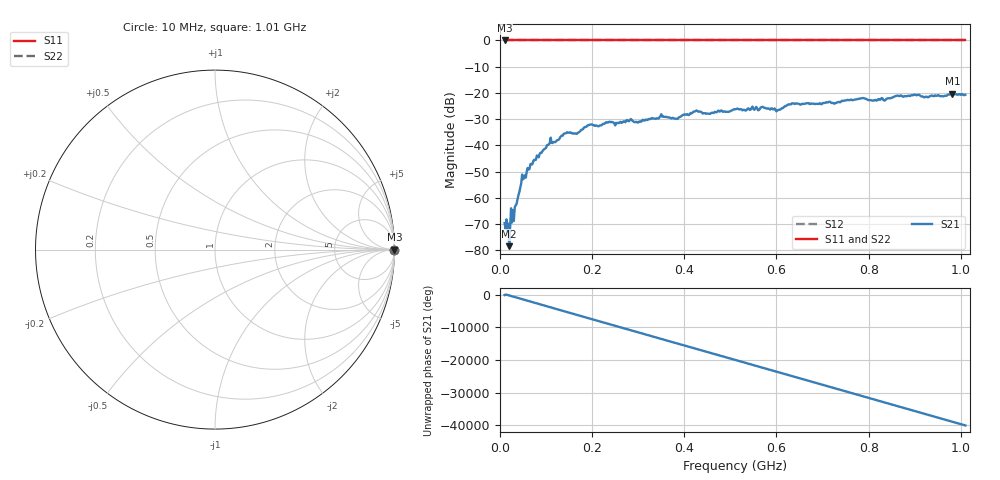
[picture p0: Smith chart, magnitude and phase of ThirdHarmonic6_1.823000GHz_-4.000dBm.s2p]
! 8/16/2025 10:05:10 PM
! C:\ANRITSUVNA\TEMP\TEMP.S2P
! CHANNEL.1
! TR.MEASUREMENT
! RAW.DATA
! RF.CORRECTION.OFF
! AVERAGING.OFF
! IF.BANDWIDTH: 5KHZ
! SWEEPTYPE:  FREQ.SWEEP(Linear)
! Reference Plane Port Info
! PORT:  PORT1  PORT2
! DISTANCE:  0  m  0  m
! TIME:  0  s  0  s
! PHASE.OFFSET:  0  deg.  0  deg.
! LOSS:  0  dB  0  dB
! REF.LOSS:  0  dB  0  dB
! REF.FREQ:  0  Hz  0  Hz
! Power Info
! POWER:  -20  dBm  -20  dBm
! EFF.POWER:  -20  dBm  -20  dBm
! SOURCE.ATTEN:  0  dB  0  dB
! TEST.ATTEN:  0  dB  0  dB
# GHZ S RI R 50.0
! FREQ.GHZ  S11RE  S11IM  S21RE  S21IM  S12RE  S12IM  S22RE  S22IM
!; PortSelection: Port_12
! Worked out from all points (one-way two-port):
!   501 points, 10 MHz to 1.01 GHz, reference 50 ohm
!   highest |S21| = -20.30 dB at 982 MHz (marker M1); lowest = -78.4 dB at 20 MHz (marker M2)
!   lowest |S11| = 0.0 dB at 10 MHz (marker M3)
!   |S11| at or under -10 dB: nowhere
!   |S22| runs from 0.0 to 0.0 dB; largest |S21 - S12| = 1.1
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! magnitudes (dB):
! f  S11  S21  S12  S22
! 10 MHz  0.0  -69.6  0.0  0.0
! 16 MHz  0.0  -72.8  0.0  0.0
! 20 MHz  0.0  -78.4  0.0  0.0
! 34 MHz  0.0  -62.9  0.0  0.0
! 48 MHz  0.0  -51.1  0.0  0.0
! 70 MHz  0.0  -47.2  0.0  0.0
! 106 MHz  0.0  -39.6  0.0  0.0
! 142 MHz  0.0  -35.4  0.0  0.0
! 178 MHz  0.0  -34.0  0.0  0.0
! 196 MHz  0.0  -32.0  0.0  0.0
! 344 MHz  0.0  -29.8  0.0  0.0
! 382 MHz  0.0  -29.8  0.0  0.0
! 424 MHz  0.0  -27.0  0.0  0.0
! 452 MHz  0.0  -27.8  0.0  0.0
! 510 MHz  0.0  -26.2  0.0  0.0
! 570 MHz  0.0  -25.3  0.0  0.0
! 602 MHz  0.0  -26.6  0.0  0.0
! 634 MHz  0.0  -23.9  0.0  0.0
! 678 MHz  0.0  -24.1  0.0  0.0
! 844 MHz  0.0  -22.0  0.0  0.0
! 982 MHz  0.0  -20.3  0.0  0.0
! 1.01 GHz  0.0  -20.7  0.0  0.0
